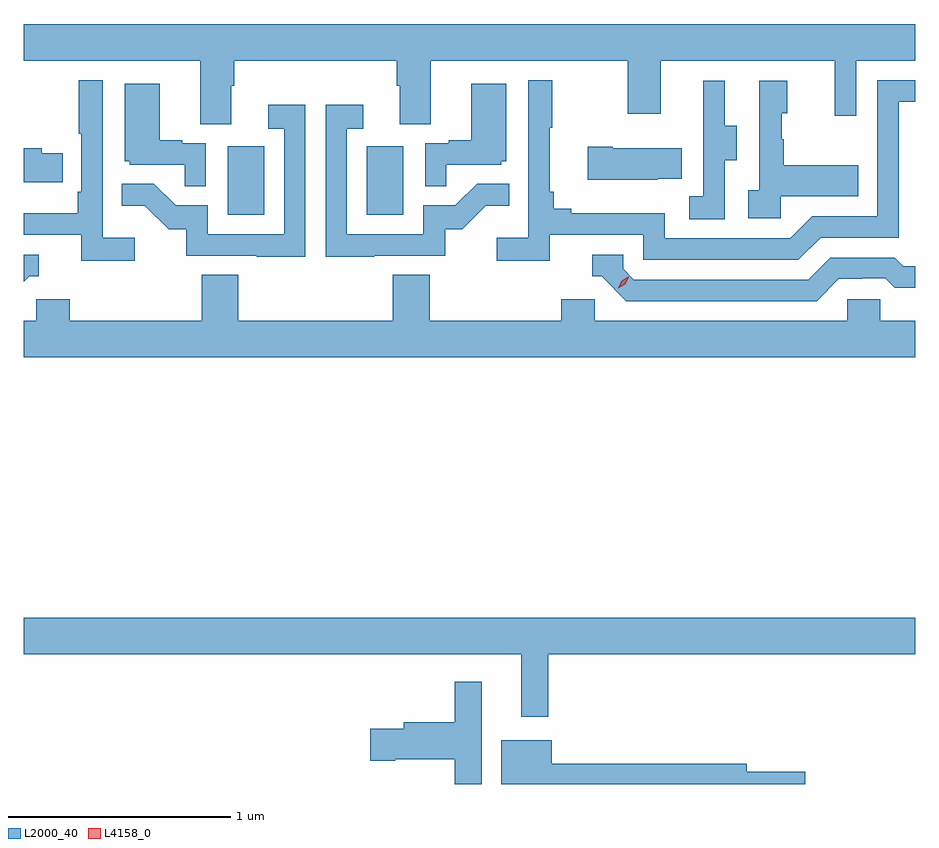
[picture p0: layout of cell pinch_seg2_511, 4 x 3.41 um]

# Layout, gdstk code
import gdstk
lib = gdstk.Library(unit=1e-6, precision=1e-09)
def R(c, l, rs):  # rectangles x0, y0, x1, y1
    for r in rs: c.add(gdstk.rectangle(r[:2], r[2:], *l))
def P(c, l, *ps):  # polygons
    for p in ps: c.add(gdstk.Polygon(p, *l))
L2000_40 = (2000, 40)
L4158_0 = (4158, 0)

pinch_seg2_511 = lib.new_cell('pinch_seg2_511')
R(pinch_seg2_511, L2000_40, [(994.31,587.004,994.474,587.311), (994.934,587.004,995.098,587.311)])
P(pinch_seg2_511, L2000_40, [(994.327,587.584),(994.34,587.584),(994.34,587.696),(995.069,587.696),(995.069,587.584),(995.081,587.584),(995.081,587.41),(995.221,587.41),(995.221,587.696),(996.106,587.696),(996.106,587.457),(996.253,587.457),(996.253,587.696),(997.034,587.696),(997.034,587.448),(997.131,587.448),(997.131,587.696),(997.395,587.696),(997.395,587.86),(993.395,587.86),(993.395,587.696),(994.187,587.696),(994.187,587.41),(994.327,587.41)],
  [(993.892,586.9),(993.75,586.9),(993.75,587.608),(993.642,587.608),(993.642,587.368),(993.654,587.368),(993.654,587.107),(993.637,587.107),(993.637,587.011),(993.395,587.011),(993.395,586.914),(993.653,586.914),(993.653,586.798),(993.892,586.798)],
  [(995.756,586.914),(996.174,586.914),(996.174,586.803),(996.871,586.803),(996.97,586.902),(997.32,586.902),(997.32,587.511),(997.395,587.511),(997.395,587.607),(997.224,587.607),(997.224,586.998),(996.933,586.998),(996.834,586.899),(996.27,586.899),(996.27,587.011),(995.851,587.011),(995.851,587.03),(995.774,587.03),(995.774,587.107),(995.755,587.107),(995.755,587.395),(995.767,587.395),(995.767,587.608),(995.658,587.608),(995.658,586.9),(995.517,586.9),(995.517,586.798),(995.756,586.798)],
  [(996.792,587.087),(997.139,587.087),(997.139,587.227),(996.805,587.227),(996.805,587.342),(996.795,587.342),(996.795,587.46),(996.82,587.46),(996.82,587.605),(996.696,587.605),(996.696,587.114),(996.645,587.114),(996.645,586.989),(996.792,586.989)],
  [(996.54,587.248),(996.595,587.248),(996.595,587.403),(996.541,587.403),(996.541,587.605),(996.443,587.605),(996.443,587.391),(996.444,587.391),(996.444,587.087),(996.381,587.087),(996.381,586.984),(996.54,586.984)],
  [(995.291,587.229),(995.538,587.229),(995.538,587.244),(995.56,587.244),(995.56,587.593),(995.402,587.593),(995.402,587.338),(995.303,587.338),(995.303,587.325),(995.196,587.325),(995.196,587.131),(995.291,587.131)],
  [(994.212,587.325),(994.106,587.325),(994.106,587.338),(994.006,587.338),(994.006,587.593),(993.848,587.593),(993.848,587.244),(993.87,587.244),(993.87,587.229),(994.117,587.229),(994.117,587.131),(994.212,587.131)],
  [(994.967,586.821),(995.286,586.821),(995.286,586.938),(995.362,586.938),(995.469,587.045),(995.573,587.045),(995.573,587.144),(995.429,587.144),(995.331,587.046),(995.187,587.046),(995.187,586.917),(994.845,586.917),(994.845,587.391),(994.918,587.391),(994.918,587.497),(994.749,587.497),(994.749,586.816),(994.967,586.816)],
  [(994.659,587.497),(994.491,587.497),(994.491,587.391),(994.563,587.391),(994.563,586.917),(994.221,586.917),(994.221,587.046),(994.077,587.046),(993.979,587.144),(993.835,587.144),(993.835,587.045),(993.939,587.045),(994.046,586.938),(994.123,586.938),(994.123,586.821),(994.441,586.821),(994.441,586.816),(994.659,586.816)],
  [(996.239,587.165),(996.347,587.165),(996.347,587.302),(996.037,587.302),(996.037,587.31),(995.925,587.31),(995.925,587.162),(996.239,587.162)],
  [(993.458,587.151),(993.569,587.151),(993.569,587.28),(993.475,587.28),(993.475,587.302),(993.395,587.302),(993.395,587.15),(993.458,587.15)],
  [(997.051,586.716),(997.158,586.716),(997.158,586.719),(997.261,586.719),(997.303,586.677),(997.395,586.677),(997.395,586.773),(997.342,586.773),(997.303,586.812),(997.014,586.812),(996.915,586.713),(996.132,586.713),(996.084,586.761),(996.084,586.824),(995.945,586.824),(995.945,586.728),(995.988,586.728),(996.099,586.617),(996.952,586.617)],
  [(993.42,586.728),(993.463,586.728),(993.463,586.824),(993.395,586.824),(993.395,586.703)],
  [(997.395,586.528),(997.239,586.528),(997.239,586.626),(997.089,586.626),(997.089,586.528),(995.958,586.528),(995.958,586.626),(995.807,586.626),(995.807,586.528),(995.216,586.528),(995.216,586.736),(995.051,586.736),(995.051,586.528),(994.358,586.528),(994.358,586.736),(994.193,586.736),(994.193,586.528),(993.602,586.528),(993.602,586.626),(993.45,586.626),(993.45,586.528),(993.395,586.528),(993.395,586.364),(997.395,586.364)],
  [(995.749,585.032),(997.395,585.032),(997.395,585.196),(993.395,585.196),(993.395,585.032),(995.627,585.032),(995.627,584.751),(995.749,584.751)],
  [(995.449,584.908),(995.328,584.908),(995.328,584.727),(995.099,584.727),(995.099,584.697),(994.95,584.697),(994.95,584.555),(995.062,584.555),(995.062,584.56),(995.328,584.56),(995.328,584.45),(995.449,584.45)],
  [(996.901,584.504),(996.64,584.504),(996.64,584.54),(995.764,584.54),(995.764,584.647),(995.537,584.647),(995.537,584.45),(996.901,584.45)])
P(pinch_seg2_511, L4158_0, [(996.062,586.674),(996.062,586.674),(996.078,586.707),(996.108,586.726),(996.109,586.726),(996.109,586.726),(996.093,586.693),(996.063,586.674)])

lib.write_gds('pinch_seg2_511.gds')
